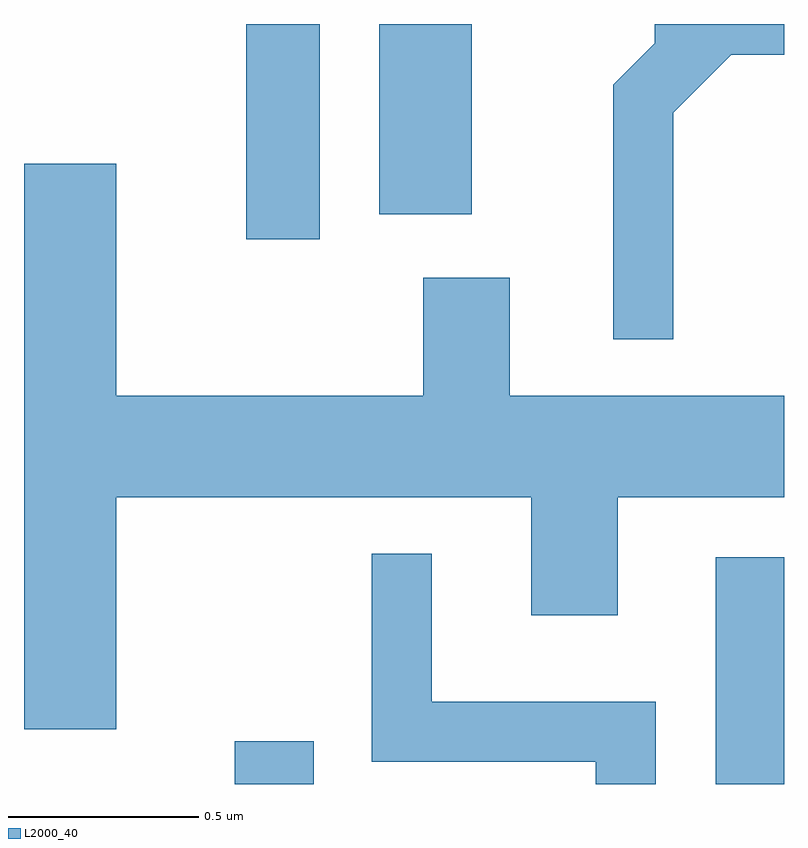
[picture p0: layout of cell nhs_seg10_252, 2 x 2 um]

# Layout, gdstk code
import gdstk
lib = gdstk.Library(unit=1e-6, precision=1e-09)
def R(c, l, rs):  # rectangles x0, y0, x1, y1
    for r in rs: c.add(gdstk.rectangle(r[:2], r[2:], *l))
def P(c, l, *ps):  # polygons
    for p in ps: c.add(gdstk.Polygon(p, *l))
L2000_40 = (2000, 40)

nhs_seg10_252 = lib.new_cell('nhs_seg10_252')
R(nhs_seg10_252, L2000_40, [(187.166,2197.522,187.374,2197.634), (188.431,2197.522,188.611,2198.119), (187.196,2198.956,187.389,2199.522), (187.546,2199.021,187.789,2199.522)])
P(nhs_seg10_252, L2000_40, [(188.319,2199.289),(188.472,2199.441),(188.611,2199.441),(188.611,2199.522),(188.271,2199.522),(188.271,2199.472),(188.161,2199.362),(188.161,2198.693),(188.319,2198.693)],
  [(186.854,2198.276),(187.946,2198.276),(187.946,2197.966),(188.174,2197.966),(188.174,2198.276),(188.611,2198.276),(188.611,2198.544),(187.889,2198.544),(187.889,2198.854),(187.661,2198.854),(187.661,2198.544),(186.854,2198.544),(186.854,2199.154),(186.611,2199.154),(186.611,2197.666),(186.854,2197.666)],
  [(188.274,2197.739),(187.684,2197.739),(187.684,2198.128),(187.526,2198.128),(187.526,2197.581),(188.116,2197.581),(188.116,2197.522),(188.274,2197.522)])

lib.write_gds('nhs_seg10_252.gds')
